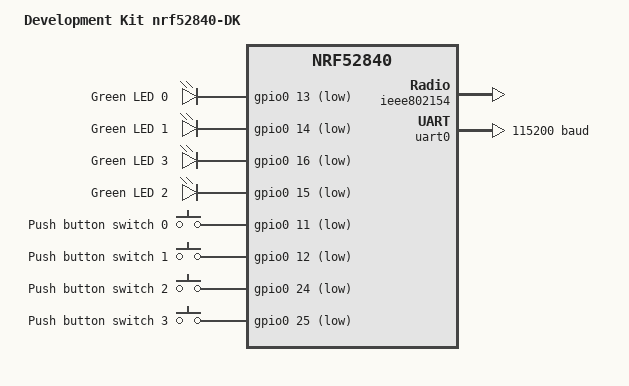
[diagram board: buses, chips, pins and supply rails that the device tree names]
/dts-v1/;

#include <nordic/nrf52840_qiaa.dtsi>
#include "nrf52840devkit-pinctrl.dtsi"
#include <zephyr/dt-bindings/input/input-event-codes.h>

/ {
	model = "Development Kit nrf52840-DK";
	compatible = "nordic,nrf52840devkit";

	chosen {
		zephyr,sram = &sram0;
		zephyr,flash = &flash0;
		zephyr,code-partition = &slot0_partition;
		zephyr,ieee802154 = &ieee802154;
		zephyr,console =  &uart0 ;
		zephyr,shell-uart =  &uart0 ;
		zephyr,uart-mcumgr = &uart0;
	};

//Cambiamos el orden de los LEDs
	leds: leds {
		compatible = "gpio-leds";
		led0: led_0 {
			gpios = <&gpio0 13 GPIO_ACTIVE_LOW>;
			label = "Green LED 0";
		};

		led1: led_1 {
			gpios = <&gpio0 14 GPIO_ACTIVE_LOW>;
			label = "Green LED 1";
		};
		
		led3: led_3 {
			gpios = <&gpio0 16 GPIO_ACTIVE_LOW>;
			label = "Green LED 3";
		};

		led2: led_2 {
			gpios = <&gpio0 15 GPIO_ACTIVE_LOW>;
			label = "Green LED 2";
		};

	};

	buttons {
		compatible = "gpio-keys";
		button0: button_0 {
			gpios = <&gpio0 11 (GPIO_PULL_UP | GPIO_ACTIVE_LOW)>;
			label = "Push button switch 0";
			zephyr,code = <INPUT_KEY_0>;
		};
		button1: button_1 {
			gpios = <&gpio0 12 (GPIO_PULL_UP | GPIO_ACTIVE_LOW)>;
			label = "Push button switch 1";
			zephyr,code = <INPUT_KEY_1>;
		};
		button2: button_2 {
			gpios = <&gpio0 24 (GPIO_PULL_UP | GPIO_ACTIVE_LOW)>;
			label = "Push button switch 2";
			zephyr,code = <INPUT_KEY_2>;
		};
		button3: button_3 {
			gpios = <&gpio0 25 (GPIO_PULL_UP | GPIO_ACTIVE_LOW)>;
			label = "Push button switch 3";
			zephyr,code = <INPUT_KEY_3>;
		};
	};

	/* These aliases are provided for compatibility with samples */
	aliases {
		led0 = &led0;
		led1 = &led1;
		led2 = &led2;
		led3 = &led3;
		sw0 = &button0;
		sw1 = &button1;
		sw2 = &button2;
		sw3 = &button3;
		bootloader-led0 = &led0;
		mcuboot-button0 = &button0;
		mcuboot-led0 = &led0;
		watchdog0 = &wdt0;
	};
};

&ieee802154 {
	status = "okay";
};

&flash0 {
	partitions {
		#address-cells = <1>;
		#size-cells = <1>;
		ranges;

		boot_partition: partition@0 {
			compatible = "zephyr,mapped-partition";
			label = "mcuboot";
			reg = <0x0 DT_SIZE_K(48)>;
		};

		slot0_partition: partition@c000 {
			compatible = "zephyr,mapped-partition";
			label = "image-0";
			reg = <0xc000 DT_SIZE_K(472)>;
		};

		slot1_partition: partition@82000 {
			compatible = "zephyr,mapped-partition";
			label = "image-1";
			reg = <0x82000 DT_SIZE_K(472)>;
		};

		storage_partition: partition@f8000 {
			compatible = "zephyr,mapped-partition";
			label = "storage";
			reg = <0xf8000 DT_SIZE_K(32)>;
		};
	};
};

&uicr {
    gpio-as-nreset;
};

&gpiote {
	status = "okay";
};

&gpio0 {
	status = "okay";
};

&gpio1 {
	status = "okay";
};

&uart0 {
	compatible = "nordic,nrf-uarte";
	status = "okay";
	current-speed = <115200>;
	pinctrl-0 = <&uart0_default>;
	pinctrl-1 = <&uart0_sleep>;
	pinctrl-names = "default", "sleep";
};
